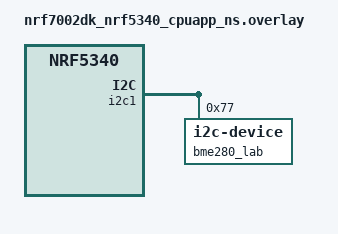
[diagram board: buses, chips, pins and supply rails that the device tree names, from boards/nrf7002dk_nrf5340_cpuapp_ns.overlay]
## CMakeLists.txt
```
# SPDX-License-Identifier: Apache-2.0

cmake_minimum_required(VERSION 3.20.0)
find_package(Zephyr REQUIRED HINTS $ENV{ZEPHYR_BASE})
project(nordic_blinky)

target_sources(app PRIVATE src/main.c)

if(CONFIG_SUM_PRINT)
    target_sources(app PRIVATE sum_printk/sum_printk.c)
    target_include_directories(app PRIVATE
        ${CMAKE_CURRENT_SOURCE_DIR}/sum_printk
    )
elseif(CONFIG_SUM_LOG)
    target_sources(app PRIVATE sum_log/sum_log.c)
    target_include_directories(app PRIVATE
        ${CMAKE_CURRENT_SOURCE_DIR}/sum_log
    )
endif()
```

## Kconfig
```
menu "Sum exercise"

choice SUM_IMPLEMENTATION
    prompt "Select sum implementation"
    default SUM_PRINT

config SUM_PRINT
    bool "Use printk() implementation"
    help
      Build the sum implementation that prints with printk().

config SUM_LOG
    bool "Use Logger implementation"
    help
      Build the sum implementation that uses Zephyr Logger.

endchoice

endmenu

source "Kconfig.zephyr"
```

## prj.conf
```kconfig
CONFIG_GPIO=y

# Console and UART output
CONFIG_CONSOLE=y
CONFIG_SERIAL=y
CONFIG_UART_CONSOLE=y
CONFIG_PRINTK=y

# Zephyr Logger
CONFIG_LOG=y
CONFIG_LOG_BACKEND_UART=y
CONFIG_LOG_DEFAULT_LEVEL=3

# Keep TWIM1/I2C1 available to the non-secure application.
# TF-M's default secure UART1 shares the same peripheral ID.
CONFIG_TFM_SECURE_UART=n
CONFIG_TFM_LOG_LEVEL_SILENCE=y

# BME280 sensor + I2C
CONFIG_SENSOR=y
CONFIG_I2C=y
```

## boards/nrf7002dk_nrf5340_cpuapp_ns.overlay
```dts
/delete-node/ &boot_partition;
/delete-node/ &slot0_partition;
/delete-node/ &slot1_partition;
/ {
    aliases {
        led5180 = &led1;
        button5180 = &button0;
    };
};
&flash0 {
    partitions {
        slot0_partition: partition@0 {
            compatible = "zephyr,mapped-partition";
            label = "image-0";
            reg = <0x00000000 0xf0000>;
            ranges = <0x0 0x0 0xf0000>;
            #address-cells = <1>;
            #size-cells = <1>;

            slot0_s_partition: partition@0 {
                compatible = "zephyr,mapped-partition";
                label = "image-0-secure";
                reg = <0x00000000 0x40000>;
            };

            slot0_ns_partition: partition@40000 {
                compatible = "zephyr,mapped-partition";
                label = "image-0-nonsecure";
                reg = <0x00040000 0xb0000>;
            };
        };
    };
};
/* BME280 on I2C1: SDA=P1.15, SCL=P1.14 */
&i2c1 {
    status = "okay";
    pinctrl-0 = <&i2c1_default>;
    pinctrl-1 = <&i2c1_sleep>;
    pinctrl-names = "default", "sleep";

    bme280_lab: bme280@77 {
        compatible = "i2c-device";
        status = "okay";
        reg = <0x77>;
    };
};

/* Override the board default pins for this lab */
&i2c1_default {
    group1 {
        psels = <NRF_PSEL(TWIM_SDA, 1, 15)>,
                <NRF_PSEL(TWIM_SCL, 1, 14)>;
    };
};

&i2c1_sleep {
    group1 {
        psels = <NRF_PSEL(TWIM_SDA, 1, 15)>,
                <NRF_PSEL(TWIM_SCL, 1, 14)>;
        low-power-enable;
    };
};
```

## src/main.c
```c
/*
 * Copyright (c) 2016 Intel Corporation
 *
 * SPDX-License-Identifier: Apache-2.0
 */

#include <stdio.h>
#include <zephyr/kernel.h>
#include <zephyr/drivers/gpio.h>
#include <zephyr/drivers/i2c.h>
#include <zephyr/logging/log.h>
#include <zephyr/sys/byteorder.h>

LOG_MODULE_REGISTER(lab0_bme280, LOG_LEVEL_INF);

#if defined(CONFIG_SUM_PRINT)
#include "sum_printk.h"
#elif defined(CONFIG_SUM_LOG)
#include "sum_log.h"
#endif

/* 2000 msec = 2 sec */
#define SLEEP_TIME_MS   2000

/* BME280 register addresses used by Lab 0. */
#define BME280_REG_DIG_T1_LSB 0x88
#define BME280_REG_CTRL_MEAS  0xF4
#define BME280_REG_TEMP_MSB   0xFA

/* The devicetree node identifier for the "led5180" alias. */
#define LED5180_NODE DT_ALIAS(led5180)
#define BUTTON5180_NODE DT_ALIAS(button5180)
/*
 * A build error on this line means your board is unsupported.
 * See the sample documentation for information on how to fix this.
 */
static const struct gpio_dt_spec led = GPIO_DT_SPEC_GET(LED5180_NODE, gpios);
static const struct gpio_dt_spec button =
	GPIO_DT_SPEC_GET(BUTTON5180_NODE, gpios);
static const struct i2c_dt_spec bme280 =
	I2C_DT_SPEC_GET(DT_NODELABEL(bme280_lab));

struct bme280_calibration {
	uint16_t dig_t1;
	int16_t dig_t2;
	int16_t dig_t3;
};

static int bme280_read_calibration(struct bme280_calibration *cal)
{
	uint8_t data[6];
	int ret;

	ret = i2c_burst_read_dt(&bme280, BME280_REG_DIG_T1_LSB,
				       data, sizeof(data));
	if (ret < 0) {
		return ret;
	}

	cal->dig_t1 = sys_get_le16(&data[0]);
	cal->dig_t2 = (int16_t)sys_get_le16(&data[2]);
	cal->dig_t3 = (int16_t)sys_get_le16(&data[4]);

	return 0;
}

static int bme280_configure(void)
{
	const uint8_t ctrl_meas[] = {BME280_REG_CTRL_MEAS, 0x27};

	/* Temperature x1, pressure x1, normal measurement mode. */
	return i2c_write_dt(&bme280, ctrl_meas, sizeof(ctrl_meas));
}

static int bme280_read_temperature(const struct bme280_calibration *cal,
				   int32_t *temperature_centi_c)
{
	uint8_t raw[3];
	int32_t adc_t;
	int32_t var1;
	int32_t var2;
	int32_t t_fine;
	int ret;

	ret = i2c_burst_read_dt(&bme280, BME280_REG_TEMP_MSB,
				       raw, sizeof(raw));
	if (ret < 0) {
		return ret;
	}

	adc_t = ((int32_t)raw[0] << 12) |
		((int32_t)raw[1] << 4) |
		(raw[2] >> 4);

	/* Bosch BME280 integer temperature compensation formula. */
	var1 = ((((adc_t >> 3) - ((int32_t)cal->dig_t1 << 1)) *
		 (int32_t)cal->dig_t2) >> 11);
	var2 = (((((adc_t >> 4) - (int32_t)cal->dig_t1) *
		  ((adc_t >> 4) - (int32_t)cal->dig_t1)) >> 12) *
		 (int32_t)cal->dig_t3) >> 14;
	t_fine = var1 + var2;
	*temperature_centi_c = (t_fine * 5 + 128) >> 8;

	return 0;
}

static int bme280_init(struct bme280_calibration *cal)
{
	int ret;

	if (!device_is_ready(bme280.bus)) {
		return -ENODEV;
	}

	ret = bme280_read_calibration(cal);
	if (ret < 0) {
		return ret;
	}

	ret = bme280_configure();
	if (ret < 0) {
		return ret;
	}

	/* Allow the first normal-mode measurement to complete. */
	k_msleep(100);
	return 0;
}

int main(void)
{
	int ret;
	int64_t next_temperature_ms = 0;
	struct bme280_calibration bme280_cal;
	bool led_state = false;
	bool last_button_state = false;

	if (!gpio_is_ready_dt(&led) ||
	    !gpio_is_ready_dt(&button)) {
		return 0;
	}

	ret = gpio_pin_configure_dt(&led, GPIO_OUTPUT_INACTIVE);
	if (ret < 0) {
		return 0;
	}

	ret = bme280_init(&bme280_cal);
	if (ret < 0) {
		LOG_ERR("BME280 initialization failed: %d", ret);
		return 0;
	}

	LOG_INF("BME280 initialized at I2C address 0x77");

	ret = gpio_pin_configure_dt(&button, GPIO_INPUT);
	if (ret < 0) {
		return 0;
	}

#if defined(CONFIG_SUM_PRINT)
	(void)sum_printk(7, 5);
#elif defined(CONFIG_SUM_LOG)
	(void)sum_log(7, 5);
#endif

	while (1) {
		int64_t now_ms = k_uptime_get();
		int button_state = gpio_pin_get_dt(&button);
		int32_t temperature_centi_c;

		if (button_state < 0) {
			return 0;
		}

		if (button_state && !last_button_state) {
			led_state = !led_state;

			ret = gpio_pin_set_dt(&led, led_state);
			if (ret < 0) {
				return 0;
			}

			printf("LED state: %s\n",
			       led_state ? "ON" : "OFF");
		}

		last_button_state = button_state;

		if (now_ms >= next_temperature_ms) {
			ret = bme280_read_temperature(&bme280_cal,
						      &temperature_centi_c);
			if (ret < 0) {
				LOG_ERR("BME280 temperature read failed: %d", ret);
			} else {
				int32_t whole = temperature_centi_c / 100;
				int32_t fraction = temperature_centi_c % 100;

				if (fraction < 0) {
					fraction = -fraction;
				}

				LOG_INF("BME280 temperature: %d.%02d C",
					whole, fraction);
			}

			next_temperature_ms = now_ms + SLEEP_TIME_MS;
		}

		k_msleep(20);
	}

	return 0;
}
```
